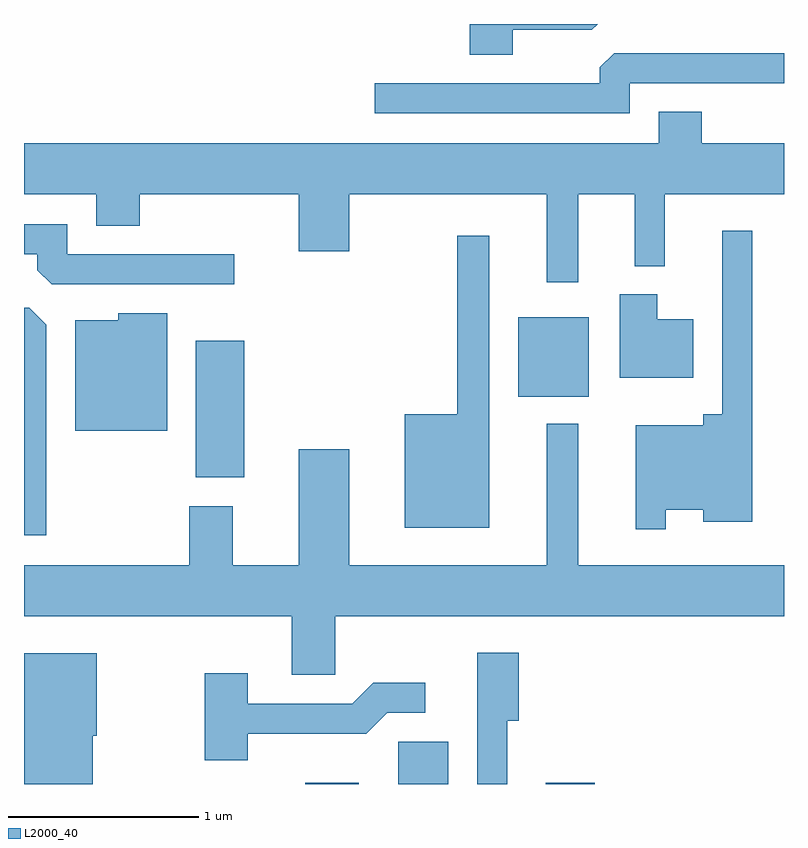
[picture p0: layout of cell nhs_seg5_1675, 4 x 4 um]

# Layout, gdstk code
import gdstk
lib = gdstk.Library(unit=1e-6, precision=1e-09)
def R(c, l, rs):  # rectangles x0, y0, x1, y1
    for r in rs: c.add(gdstk.rectangle(r[:2], r[2:], *l))
def P(c, l, *ps):  # polygons
    for p in ps: c.add(gdstk.Polygon(p, *l))
L2000_40 = (2000, 40)

nhs_seg5_1675 = lib.new_cell('nhs_seg5_1675')
R(nhs_seg5_1675, L2000_40, [(235.091,1518.072,235.374,1518.079), (235.581,1518.072,235.844,1518.294), (236.356,1518.072,236.614,1518.079), (234.516,1519.686,234.769,1520.404), (236.211,1520.111,236.584,1520.529)])
P(nhs_seg5_1675, L2000_40, [(236.184,1522.041),(236.599,1522.041),(236.63,1522.072),(235.956,1522.072),(235.956,1521.911),(236.184,1521.911)],
  [(236.799,1521.761),(237.611,1521.761),(237.611,1521.919),(236.717,1521.919),(236.641,1521.844),(236.641,1521.759),(235.458,1521.759),(235.458,1521.601),(236.799,1521.601)],
  [(236.951,1521.609),(236.951,1521.444),(233.611,1521.444),(233.611,1521.176),(233.991,1521.176),(233.991,1521.011),(234.219,1521.011),(234.219,1521.176),(235.056,1521.176),(235.056,1520.876),(235.324,1520.876),(235.324,1521.176),(236.361,1521.176),(236.361,1520.713),(236.529,1520.713),(236.529,1521.176),(236.826,1521.176),(236.826,1520.798),(236.984,1520.798),(236.984,1521.176),(237.611,1521.176),(237.611,1521.444),(237.179,1521.444),(237.179,1521.609)],
  [(234.718,1520.859),(233.839,1520.859),(233.839,1521.019),(233.611,1521.019),(233.611,1520.861),(233.681,1520.861),(233.681,1520.777),(233.757,1520.701),(234.718,1520.701)],
  [(236.989,1519.516),(237.186,1519.516),(237.186,1519.451),(237.444,1519.451),(237.444,1520.983),(237.286,1520.983),(237.286,1520.019),(237.186,1520.019),(237.186,1519.959),(236.831,1519.959),(236.831,1519.413),(236.989,1519.413)],
  [(236.059,1520.958),(235.891,1520.958),(235.891,1520.019),(235.616,1520.019),(235.616,1519.421),(236.059,1519.421)],
  [(237.134,1520.519),(236.944,1520.519),(236.944,1520.649),(236.746,1520.649),(236.746,1520.211),(237.134,1520.211)],
  [(233.729,1520.489),(233.639,1520.579),(233.611,1520.579),(233.611,1519.381),(233.729,1519.381)],
  [(234.364,1520.549),(234.106,1520.549),(234.106,1520.514),(233.881,1520.514),(233.881,1519.931),(234.364,1519.931)],
  [(235.249,1518.956),(237.611,1518.956),(237.611,1519.224),(236.529,1519.224),(236.529,1519.968),(236.361,1519.968),(236.361,1519.224),(235.324,1519.224),(235.324,1519.834),(235.056,1519.834),(235.056,1519.224),(234.709,1519.224),(234.709,1519.534),(234.481,1519.534),(234.481,1519.224),(233.611,1519.224),(233.611,1518.956),(235.021,1518.956),(235.021,1518.646),(235.249,1518.646)],
  [(236.154,1518.406),(236.214,1518.406),(236.214,1518.764),(235.996,1518.764),(235.996,1518.072),(236.154,1518.072)],
  [(233.974,1518.326),(233.994,1518.326),(233.994,1518.759),(233.611,1518.759),(233.611,1518.072),(233.974,1518.072)],
  [(234.789,1518.336),(235.412,1518.336),(235.522,1518.446),(235.723,1518.446),(235.723,1518.604),(235.449,1518.604),(235.339,1518.494),(234.789,1518.494),(234.789,1518.654),(234.561,1518.654),(234.561,1518.196),(234.789,1518.196)])

lib.write_gds('nhs_seg5_1675.gds')
